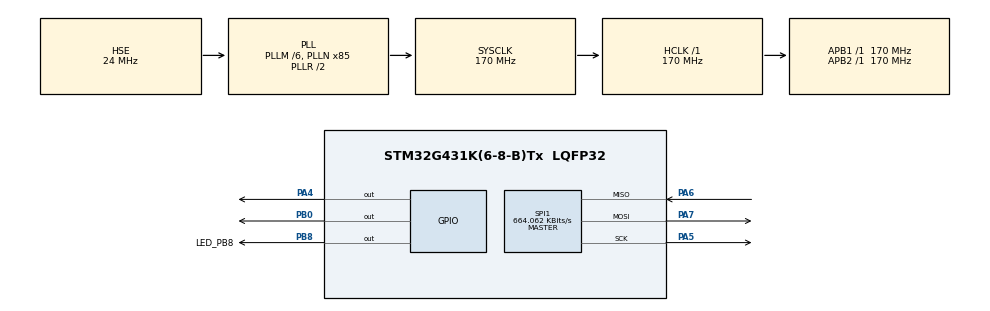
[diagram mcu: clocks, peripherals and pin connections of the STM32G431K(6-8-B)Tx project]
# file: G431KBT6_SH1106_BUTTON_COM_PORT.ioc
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Mcu.Family=STM32G4
Mcu.Name=STM32G431K(6-8-B)Tx
Mcu.Package=LQFP32
NVIC.PriorityGroup=NVIC_PRIORITYGROUP_4
PA13.Mode=Serial_Wire
PA13.Signal=SYS_JTMS-SWDIO
PA14.Mode=Serial_Wire
PA14.Signal=SYS_JTCK-SWCLK
PA4.Signal=GPIO_Output
PA5.Mode=Full_Duplex_Master
PA5.Signal=SPI1_SCK
PA6.Mode=Full_Duplex_Master
PA6.Signal=SPI1_MISO
PA7.Mode=Full_Duplex_Master
PA7.Signal=SPI1_MOSI
PB0.Signal=GPIO_Output
PB8-BOOT0.GPIO_Label=LED_PB8
PB8-BOOT0.Signal=GPIO_Output
PF0-OSC_IN.Mode=HSE-External-Oscillator
PF0-OSC_IN.Signal=RCC_OSC_IN
PF1-OSC_OUT.Mode=HSE-External-Oscillator
PF1-OSC_OUT.Signal=RCC_OSC_OUT
ProjectManager.HeapSize=0x200
ProjectManager.StackSize=0x400
ProjectManager.TargetToolchain=STM32CubeIDE
RCC.ADC12Freq_Value=170000000
RCC.AHBFreq_Value=170000000
RCC.APB1Freq_Value=170000000
RCC.APB1TimFreq_Value=170000000
RCC.APB2Freq_Value=170000000
RCC.APB2TimFreq_Value=170000000
RCC.CortexFreq_Value=170000000
RCC.EXTERNAL_CLOCK_VALUE=12288000
RCC.HCLKFreq_Value=170000000
RCC.HSE_VALUE=24000000
RCC.HSI48_VALUE=48000000
RCC.HSI_VALUE=16000000
RCC.LSE_VALUE=32768
RCC.PLLM=RCC_PLLM_DIV6
RCC.PLLN=85
RCC.PLLSourceVirtual=RCC_PLLSOURCE_HSE
RCC.SYSCLKFreq_VALUE=170000000
RCC.SYSCLKSource=RCC_SYSCLKSOURCE_PLLCLK
RCC.USBFreq_Value=170000000
RCC.VCOOutputFreq_Value=340000000
SPI1.BaudRatePrescaler=SPI_BAUDRATEPRESCALER_256
SPI1.CalculateBaudRate=664.062 KBits/s
SPI1.DataSize=SPI_DATASIZE_8BIT
SPI1.Direction=SPI_DIRECTION_2LINES
SPI1.Mode=SPI_MODE_MASTER
SPI1.VirtualType=VM_MASTER
VP_SYS_VS_DBSignals.Mode=DisableDeadBatterySignals
board=custom

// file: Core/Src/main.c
/* USER CODE BEGIN Header */
/**
  ******************************************************************************
  * @file           : main.c
  * @brief          : Main program body
  ******************************************************************************
  * @attention
  *
  * Copyright (c) 2026 STMicroelectronics.
  * All rights reserved.
  *
  * This software is licensed under terms that can be found in the LICENSE file
  * in the root directory of this software component.
  * If no LICENSE file comes with this software, it is provided AS-IS.
  *
  ******************************************************************************
  */
/* USER CODE END Header */
#include "main.h"

/* USER CODE BEGIN Includes */

// Библиотека U8g2 для работы с OLED дисплеями SH1106/SSD1306
#include "u8g2.h"
#include <stdbool.h>    // Для типа bool (true/false)
#include <string.h>     // Для строковых функций (strcmp, strlen, memset)
#include <stdio.h>      // Для sprintf

/* USER CODE END Includes */

/* USER CODE BEGIN PD */

#define BUTTON_PRESSED   GPIO_PIN_RESET   // 0 - кнопка нажата
#define BUTTON_RELEASED  GPIO_PIN_SET     // 1 - кнопка отпущена

#define DEBOUNCE_DELAY   50

// Настройки пинов для подключения OLED дисплея по SPI
/* =========================================================
   DISPLAY PINS
========================================================= */

#define OLED_CS_PORT   GPIOB      // CS (Chip Select) - порт
#define OLED_CS_PIN    GPIO_PIN_0 // CS (Chip Select) - пин PB0

#define OLED_DC_PORT   GPIOA      // DC (Data/Command) - порт
#define OLED_DC_PIN    GPIO_PIN_4 // DC (Data/Command) - пин PA4

#define OLED_RST_PORT  GPIOA      // RST (Reset) - порт
#define OLED_RST_PIN   GPIO_PIN_6 // RST (Reset) - пин PA6

/* USER CODE END PD */

SPI_HandleTypeDef hspi1;

/* USER CODE BEGIN PV */

// Объект дисплея для библиотеки U8g2
// Хранит всё состояние дисплея (буфер, шрифты, настройки интерфейса)
u8g2_t u8g2;

// Счётчик для анимации
uint16_t counter = 0;

/* USER CODE END PV */

void SystemClock_Config(void);
static void MX_GPIO_Init(void);
static void MX_SPI1_Init(void);

/* USER CODE BEGIN 0 */

// Прототипы функций для u8g2
void u8g2_delay_us(uint32_t us);
uint8_t u8g2_gpio_and_delay(u8x8_t *u8x8, uint8_t msg, uint8_t arg_int, void *arg_ptr);
uint8_t u8g2_byte_hw_spi(u8x8_t *u8x8, uint8_t msg, uint8_t arg_int, void *arg_ptr);

/* USER CODE END 0 */

int main(void)
{

  /* MCU Configuration--------------------------------------------------------*/

  /* Reset of all peripherals, Initializes the Flash interface and the Systick. */
  HAL_Init();

  /* Configure the system clock */
  SystemClock_Config();

  /* Initialize all configured peripherals */
  MX_GPIO_Init();
  MX_SPI1_Init();
  /* USER CODE BEGIN 2 */

  HAL_GPIO_WritePin(GPIOB, LED_PB8_Pin, GPIO_PIN_SET);

  // ============================================================
  // ИНИЦИАЛИЗАЦИЯ OLED ДИСПЛЕЯ SH1106 (SPI)
  // ============================================================

  // Начальная установка пинов CS (выкл), DC (команда), RES (сброс)
  HAL_GPIO_WritePin(OLED_CS_PORT, OLED_CS_PIN, GPIO_PIN_SET);     // CS = HIGH (дисплей не выбран)
  HAL_GPIO_WritePin(OLED_DC_PORT, OLED_DC_PIN, GPIO_PIN_RESET);   // DC = 0 (команда)
  HAL_GPIO_WritePin(OLED_RST_PORT, OLED_RST_PIN, GPIO_PIN_RESET); // RESET = LOW

  HAL_Delay(10);  // Держим RESET минимум 10 мс

  HAL_GPIO_WritePin(OLED_RST_PORT, OLED_RST_PIN, GPIO_PIN_SET); // RESET = HIGH (выход из сброса)
  HAL_Delay(100); // Ожидание после сброса

  // Инициализация дисплея SH1106 с интерфейсом SPI
  // u8g2_byte_hw_spi  - наша функция отправки байта через HAL SPI
  // u8g2_gpio_and_delay - наша функция управления GPIO и задержками
  // суффикс _f — это полный буфер (1024 байта)
  u8g2_Setup_sh1106_128x64_noname_f(&u8g2,
                                     U8G2_R0,             // Ориентация (0 градусов)
                                     u8g2_byte_hw_spi,    // Функция отправки байта (наш HAL SPI)
                                     u8g2_gpio_and_delay  // Функции GPIO и задержки
                                    );

  u8g2_InitDisplay(&u8g2);     // Инициализация дисплея (отправка команд)
  u8g2_SetPowerSave(&u8g2, 0); // Включение дисплея (0 = питание вкл)

  // Первая отрисовка — заставка
  u8g2_ClearBuffer(&u8g2);
  u8g2_SetFont(&u8g2, u8g2_font_ncenB08_tr);
  u8g2_DrawStr(&u8g2, 10, 20, "OLED SH1106 OK");
  u8g2_DrawStr(&u8g2, 10, 40, "SPI Mode");
  u8g2_DrawStr(&u8g2, 10, 60, "STM32G431");
  u8g2_SendBuffer(&u8g2);

  HAL_Delay(2000); // Показываем заставку 2 секунды

  /* USER CODE END 2 */

  /* Infinite loop */
  /* USER CODE BEGIN WHILE */
  while (1)
  {
	    // Очищаем буфер дисплея (внутренний буфер u8g2)
	    u8g2_ClearBuffer(&u8g2);

	    // Устанавливаем шрифт
	    u8g2_SetFont(&u8g2, u8g2_font_helvB08_tr);

	    // Рисуем рамку
	    u8g2_DrawFrame(&u8g2, 0, 0, 128, 64);

	    // Выводим текст
	    u8g2_DrawStr(&u8g2, 5, 15, "TEST SH1106");

	    // Выводим счётчик
	    char counter_str[16];
	    sprintf(counter_str, "Counter: %04d", counter);
	    u8g2_DrawStr(&u8g2, 5, 35, counter_str);

	    // Рисуем простой индикатор прогресса
	    uint8_t progress = (counter % 100) * 118 / 100; // 0-118 пикселей
	    u8g2_DrawBox(&u8g2, 5, 48, progress, 8);

	    // Отправляем буфер на дисплей
	    u8g2_SendBuffer(&u8g2);

	    // Мигаем бортовым LED каждые 500 мс (один цикл отрисовки ~300 мс)
	    if ((counter % 50) < 25) {
	        HAL_GPIO_WritePin(GPIOB, LED_PB8_Pin, GPIO_PIN_RESET); // LED ON
	    } else {
	        HAL_GPIO_WritePin(GPIOB, LED_PB8_Pin, GPIO_PIN_SET);   // LED OFF
	    }

	    counter++;
	    HAL_Delay(250); // Пауза 250 мс между кадрами

    /* USER CODE END WHILE */

  }
}

void SystemClock_Config(void)
{
  RCC_OscInitTypeDef RCC_OscInitStruct = {0};
  RCC_ClkInitTypeDef RCC_ClkInitStruct = {0};

  /** Configure the main internal regulator output voltage
  */
  HAL_PWREx_ControlVoltageScaling(PWR_REGULATOR_VOLTAGE_SCALE1_BOOST);

  /** Initializes the RCC Oscillators according to the specified parameters
  * in the RCC_OscInitTypeDef structure.
  */
  RCC_OscInitStruct.OscillatorType = RCC_OSCILLATORTYPE_HSE;
  RCC_OscInitStruct.HSEState = RCC_HSE_ON;
  RCC_OscInitStruct.PLL.PLLState = RCC_PLL_ON;
  RCC_OscInitStruct.PLL.PLLSource = RCC_PLLSOURCE_HSE;
  RCC_OscInitStruct.PLL.PLLM = RCC_PLLM_DIV6;
  RCC_OscInitStruct.PLL.PLLN = 85;
  RCC_OscInitStruct.PLL.PLLP = RCC_PLLP_DIV2;
  RCC_OscInitStruct.PLL.PLLQ = RCC_PLLQ_DIV2;
  RCC_OscInitStruct.PLL.PLLR = RCC_PLLR_DIV2;
  if (HAL_RCC_OscConfig(&RCC_OscInitStruct) != HAL_OK)
  {
    Error_Handler();
  }

  /** Initializes the CPU, AHB and APB buses clocks
  */
  RCC_ClkInitStruct.ClockType = RCC_CLOCKTYPE_HCLK|RCC_CLOCKTYPE_SYSCLK
                              |RCC_CLOCKTYPE_PCLK1|RCC_CLOCKTYPE_PCLK2;
  RCC_ClkInitStruct.SYSCLKSource = RCC_SYSCLKSOURCE_PLLCLK;
  RCC_ClkInitStruct.AHBCLKDivider = RCC_SYSCLK_DIV1;
  RCC_ClkInitStruct.APB1CLKDivider = RCC_HCLK_DIV1;
  RCC_ClkInitStruct.APB2CLKDivider = RCC_HCLK_DIV1;

  if (HAL_RCC_ClockConfig(&RCC_ClkInitStruct, FLASH_LATENCY_4) != HAL_OK)
  {
    Error_Handler();
  }
}

static void MX_SPI1_Init(void)
{

  /* SPI1 parameter configuration*/
  hspi1.Instance = SPI1;
  hspi1.Init.Mode = SPI_MODE_MASTER;
  hspi1.Init.Direction = SPI_DIRECTION_2LINES;
  hspi1.Init.DataSize = SPI_DATASIZE_8BIT;
  hspi1.Init.CLKPolarity = SPI_POLARITY_LOW;
  hspi1.Init.CLKPhase = SPI_PHASE_1EDGE;
  hspi1.Init.NSS = SPI_NSS_SOFT;
  hspi1.Init.BaudRatePrescaler = SPI_BAUDRATEPRESCALER_256;
  hspi1.Init.FirstBit = SPI_FIRSTBIT_MSB;
  hspi1.Init.TIMode = SPI_TIMODE_DISABLE;
  hspi1.Init.CRCCalculation = SPI_CRCCALCULATION_DISABLE;
  hspi1.Init.CRCPolynomial = 7;
  hspi1.Init.CRCLength = SPI_CRC_LENGTH_DATASIZE;
  hspi1.Init.NSSPMode = SPI_NSS_PULSE_ENABLE;
  if (HAL_SPI_Init(&hspi1) != HAL_OK)
  {
    Error_Handler();
  }

}

static void MX_GPIO_Init(void)
{
  GPIO_InitTypeDef GPIO_InitStruct = {0};

  /* GPIO Ports Clock Enable */
  __HAL_RCC_GPIOF_CLK_ENABLE();
  __HAL_RCC_GPIOA_CLK_ENABLE();
  __HAL_RCC_GPIOB_CLK_ENABLE();

  /*Configure GPIO pin Output Level */
  HAL_GPIO_WritePin(GPIOA, GPIO_PIN_4|GPIO_PIN_6, GPIO_PIN_RESET);

  /*Configure GPIO pin Output Level */
  HAL_GPIO_WritePin(GPIOB, GPIO_PIN_0|LED_PB8_Pin, GPIO_PIN_RESET);

  /*Configure GPIO pins : PA4 PA6 */
  GPIO_InitStruct.Pin = GPIO_PIN_4|GPIO_PIN_6;
  GPIO_InitStruct.Mode = GPIO_MODE_OUTPUT_PP;
  GPIO_InitStruct.Pull = GPIO_NOPULL;
  GPIO_InitStruct.Speed = GPIO_SPEED_FREQ_LOW;
  HAL_GPIO_Init(GPIOA, &GPIO_InitStruct);

  /*Configure GPIO pins : PB0 LED_PB8_Pin */
  GPIO_InitStruct.Pin = GPIO_PIN_0|LED_PB8_Pin;
  GPIO_InitStruct.Mode = GPIO_MODE_OUTPUT_PP;
  GPIO_InitStruct.Pull = GPIO_NOPULL;
  GPIO_InitStruct.Speed = GPIO_SPEED_FREQ_LOW;
  HAL_GPIO_Init(GPIOB, &GPIO_InitStruct);

}

/* USER CODE BEGIN 4 */

// Функция задержки в микросекундах (для u8g2)
void u8g2_delay_us(uint32_t us) {
    // HAL_Delay работает только с миллисекундами
    // Для микросекунд используем простой цикл
    // При частоте ядра ~170 МГц этот цикл даёт приблизительную задержку
    // Для инициализации дисплея точность достаточна
    while (us--) {
        for (volatile int i = 0; i < 10; i++);
    }
}

// Функция отправки байта через аппаратный SPI HAL (для u8g2)
// Управляет CS и DC вокруг передачи данных/команд
uint8_t u8g2_byte_hw_spi(u8x8_t *u8x8, uint8_t msg, uint8_t arg_int, void *arg_ptr) {
    switch (msg) {
        case U8X8_MSG_BYTE_SEND:
            // Отправляем байты через HAL SPI
            HAL_SPI_Transmit(&hspi1, (uint8_t *)arg_ptr, arg_int, HAL_MAX_DELAY);
            break;

        case U8X8_MSG_BYTE_INIT:
            // Инициализация — ничего не нужно, HAL SPI уже инициализирован
            break;

        case U8X8_MSG_BYTE_SET_DC:
            // Устанавливаем DC (Data/Command)
            if (arg_int == 0)
                HAL_GPIO_WritePin(OLED_DC_PORT, OLED_DC_PIN, GPIO_PIN_RESET); // Command
            else
                HAL_GPIO_WritePin(OLED_DC_PORT, OLED_DC_PIN, GPIO_PIN_SET);   // Data
            break;

        case U8X8_MSG_BYTE_START_TRANSFER:
            // Опускаем CS — начало передачи
            HAL_GPIO_WritePin(OLED_CS_PORT, OLED_CS_PIN, GPIO_PIN_RESET);
            break;

        case U8X8_MSG_BYTE_END_TRANSFER:
            // Поднимаем CS — конец передачи
            HAL_GPIO_WritePin(OLED_CS_PORT, OLED_CS_PIN, GPIO_PIN_SET);
            break;

        default:
            return 0;
    }
    return 1;
}

// Функция управления GPIO и задержками для u8g2
uint8_t u8g2_gpio_and_delay(u8x8_t *u8x8, uint8_t msg, uint8_t arg_int, void *arg_ptr) {
    switch (msg) {
        case U8X8_MSG_GPIO_AND_DELAY_INIT:   // Инициализация GPIO и задержек
            break;

        case U8X8_MSG_DELAY_MILLI:           // Задержка в миллисекундах
            HAL_Delay(arg_int);
            break;

        case U8X8_MSG_DELAY_10MICRO:         // Задержка в 10 микросекундах
            u8g2_delay_us(arg_int * 10);
            break;

        case U8X8_MSG_DELAY_100NANO:         // Задержка в 100 наносекундах (приблизительно)
            u8g2_delay_us(arg_int / 10);
            break;

        case U8X8_MSG_GPIO_RESET:            // Управление RESET
            if (arg_int == 0)
                HAL_GPIO_WritePin(OLED_RST_PORT, OLED_RST_PIN, GPIO_PIN_RESET);
            else
                HAL_GPIO_WritePin(OLED_RST_PORT, OLED_RST_PIN, GPIO_PIN_SET);
            break;
    }
    return 1;
}

/* USER CODE END 4 */

void Error_Handler(void)
{
  __disable_irq();
  while (1)
  {
  }
}
